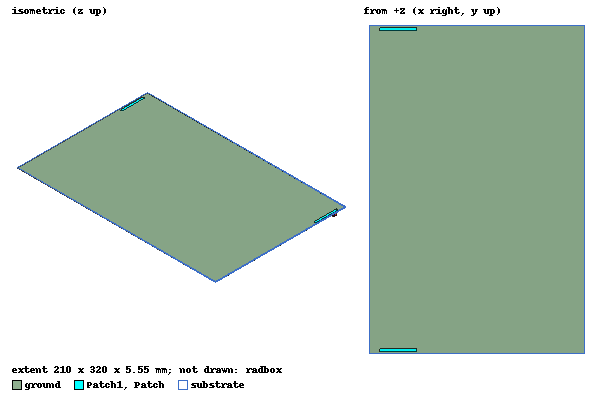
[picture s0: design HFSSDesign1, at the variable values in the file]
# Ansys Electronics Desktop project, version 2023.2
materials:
  vacuum: permittivity=1
  copper: permeability=0.999991 conductivity=58000000
  Teflon (tm): permittivity=2.1 dielectric_loss_tangent=0.001
  FR4_epoxy: permittivity=4.4 dielectric_loss_tangent=0.02
  air: permittivity=1.0006 permeability=1.0000004

design HFSSDesign1 (HFSS, HFSS Terminal Network, model units mm)
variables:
  Lp = 36mm
  Wp = 3mm
  radius = 3mm
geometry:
  Patch [copper] = rectangle(corner=(0mm, 0mm, 0mm), x_size=Lp, y_size=Wp)
  Rectangle1 = rectangle(corner=(27.1mm, 2mm, 0mm), x_size=-12.51mm, y_size=0.1mm)
  Rectangle2 = rectangle(corner=(27mm, 0mm, 0mm), x_size=0.1mm, y_size=2mm)
  Patch.subtract(Rectangle1, Rectangle2)
  Patch.thicken(0.05mm)
  short [copper] = rectangle(corner=(0mm, 0mm, -0.05mm), y_size=3mm, z_size=0.05mm)
  short.thicken(0.05mm)
  Circle1 = circle(normal=Z, centre=(5mm, 1mm, -5.3mm), radius=radius)
  feed [copper] = cylinder(axis=Z, base_centre=(5mm, 1mm, -5.1mm), radius=0.1mm, height=5.35mm)
  outer [Teflon (tm)] = cylinder(axis=Z, base_centre=(5mm, 1mm, -5.3mm), radius=1mm, height=4.8mm)
  ground [FR4_epoxy] = rectangle(corner=(-10mm, -2mm, -0.5mm), x_size=210mm, y_size=320mm)
  ground.thicken(0.05mm)
  substrate [air] = box(corner=(-10mm, -2mm, 0mm), size=(210mm, 320mm, -0.5mm))
  Patch1 [copper] = rectangle(corner=(0mm, 313mm, 0mm), x_size=Lp, y_size=Wp)
  Rectangle3 = rectangle(corner=(27.1mm, 2mm, 0mm), x_size=-12.51mm, y_size=0.1mm)
  Rectangle4 = rectangle(corner=(27mm, 0mm, 0mm), x_size=0.1mm, y_size=2mm)
  Patch1.subtract(Rectangle3, Rectangle4)
  Patch1.thicken(0.05mm)
  short1 [copper] = rectangle(corner=(0mm, 313mm, 0mm), y_size=3mm, z_size=0.05mm)
  short1.thicken(0.05mm)
  Circle2 = circle(normal=Z, centre=(5mm, 314mm, -5.3mm), radius=radius)
  feed1 [copper] = cylinder(axis=Z, base_centre=(5mm, 314mm, -5.1mm), radius=0.1mm, height=5.35mm)
  outer1 [Teflon (tm)] = cylinder(axis=Z, base_centre=(5mm, 314mm, -5.3mm), radius=1mm, height=4.8mm)
  radbox [vacuum] = box(corner=(-100mm, -100mm, -5.3mm), size=(400mm, 500mm, 60mm))
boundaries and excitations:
  Rad1: Radiation Objects=radbox
  1: Wave Port Objects=Circle1 WavePortType=Modal NumModes=1 Modes{Mode1{IntLine{(5, 1, -5.3) -> (2100mm, 1600mm, -5300mm)} CharImp=Zpi}}
  2: Wave Port Objects=Circle2 WavePortType=Modal NumModes=1 Modes{Mode1{IntLine{(5, 314, -5.3) -> (7800mm, 313000mm, -5300mm)} CharImp=Zpi}}
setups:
  Setup1: HfssDriven MultipleAdaptiveFreqsSetup{AdaptAt{Frequency=2.45GHz Delta=0.02} AdaptAt{Frequency=2.5GHz Delta=0.02} AdaptAt{Frequency=5GHz Delta=0.02}} MaximumPasses=6 MinimumPasses=1 MinimumConvergedPasses=1 PercentRefinement=30 BasisOrder=1 PortAccuracy=2 DrivenSolverType="Direct Solver"
    sweep Sweep: 0GHz to 8GHz, 401 points; Type=Fast SaveFields MinSolvedFreq=0.01GHz
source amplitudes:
  1:1: 1V 0deg
  2:1: 0V 0deg
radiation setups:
  Infinite Sphere1: Infinite Sphere Theta=0deg..360deg step 1deg Phi=-180deg..180deg step 1deg
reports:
  S Parameter Plot 1: dB(S(1,1)) vs Freq on Setup1 : Sweep
  S Parameter Plot 2: dB(S(1,1)), dB(S(2,2)) vs Freq on Setup1 : Sweep
